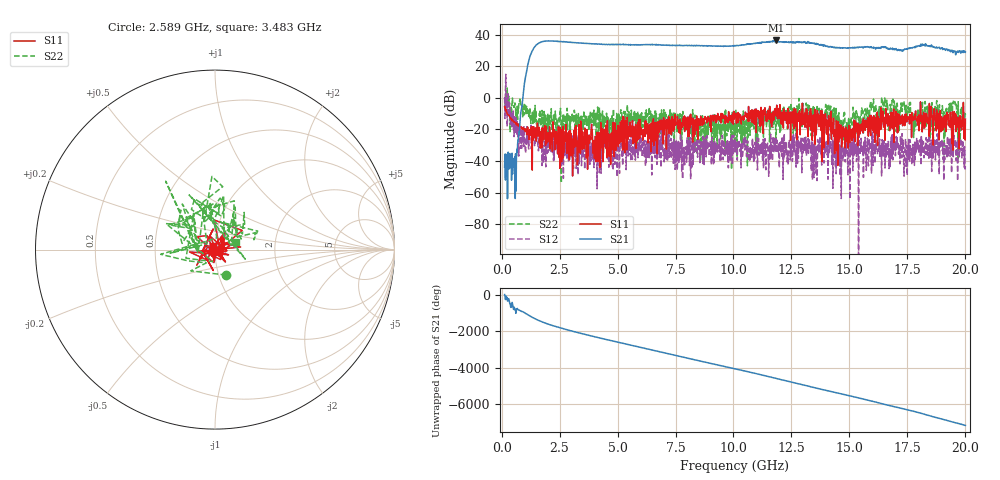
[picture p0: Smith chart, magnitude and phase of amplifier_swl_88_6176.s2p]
!Created with skrf (http://scikit-rf.org).
# GHz S RI R 50.0
!freq ReS11 ImS11 ReS21 ImS21 ReS12 ImS12 ReS22 ImS22
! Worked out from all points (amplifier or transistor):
!   1601 points, 130 MHz to 20 GHz, reference 50 ohm
!   highest |S21| = 36.3 dB at 11.85 GHz (marker M1)
!   |S21| within 3 dB of that: 1.486 GHz to 7.032 GHz (5.546 GHz wide, 130 % of centre)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
!   unconditionally stable (mu >= 1): 318.2 MHz to 1.092 GHz; 19.72037 GHz to 19.77768 GHz; 19.93801 GHz to end of sweep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
!   at 3.433 GHz: K = 1.13, MSG = 32.3 dB, |S12| = -29.8 dB
!   at 10.06 GHz: K = 0.98, MSG = 33.6 dB, |S12| = -34.2 dB
!   at 20 GHz: K = 2.36, MAG = 29.4 dB, |S12| = -43.0 dB
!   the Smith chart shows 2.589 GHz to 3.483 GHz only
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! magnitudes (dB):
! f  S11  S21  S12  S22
! 130 MHz  -5.8  -43.9  0.4  -4.3
! 564.7 MHz  -15.1  -38.9  -11.0  -6.0
! 1.037 GHz  -19.8  13.5  -34.9  -6.5
! 1.397 GHz  -24.6  31.6  -24.2  -15.6
! 2.999 GHz  -22.5  35.1  -36.9  -12.0
! 3.446 GHz  -18.8  34.6  -42.8  -17.3
! 6.762 GHz  -22.2  33.6  -34.0  -12.9
! 7.867 GHz  -15.8  33.0  -41.9  -12.8
! 10.06 GHz  -12.5  33.0  -34.2  -34.7
! 11.85 GHz  -6.5  36.3  -34.4  -6.8
! 13.38 GHz  -19.8  34.5  -32.5  -7.9
! 14.04 GHz  -20.3  32.4  -36.1  -11.8
! 14.93 GHz  -20.4  31.4  -48.7  -27.4
! 15.98 GHz  -16.8  31.6  -21.8  -4.4
! 16.7 GHz  -15.9  31.2  -31.9  -17.6
! 17.31 GHz  -12.6  29.6  -32.3  -3.6
! 17.79 GHz  -13.5  32.0  -42.4  -14.1
! 18.2 GHz  -9.2  33.4  -31.1  -19.2
! 19.04 GHz  -19.9  31.0  -38.9  -12.0
! 19.59 GHz  -21.3  27.3  -26.7  -2.9
! 19.71 GHz  -13.4  29.2  -26.1  -15.5
! 20 GHz  -13.5  28.9  -43.0  -10.9
